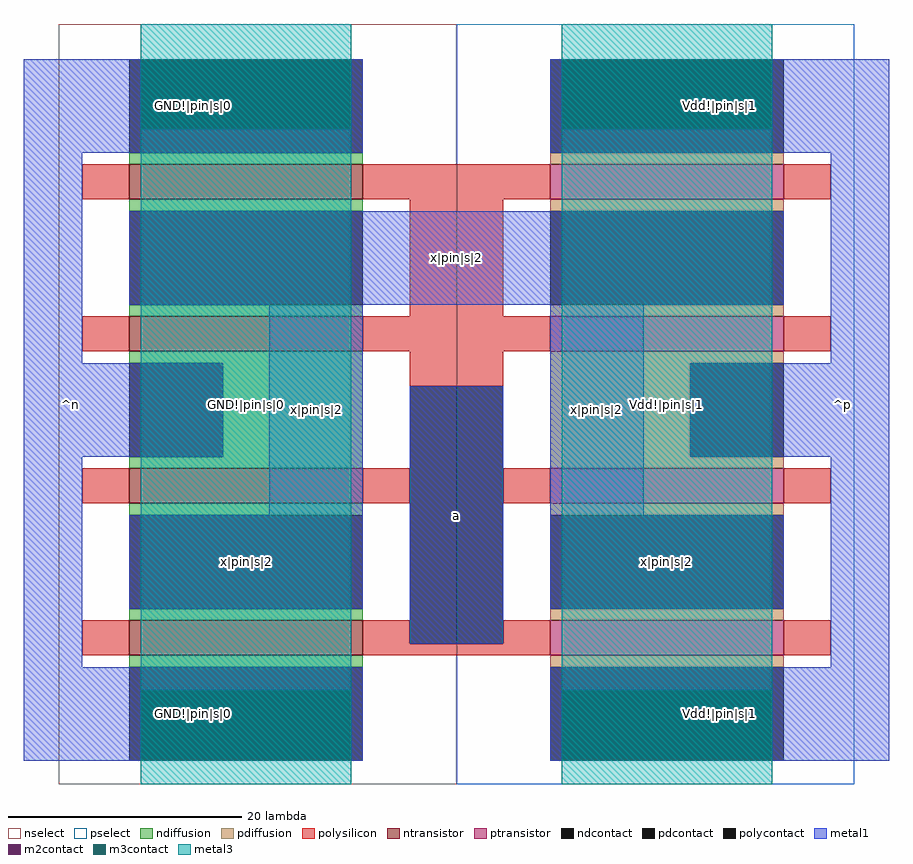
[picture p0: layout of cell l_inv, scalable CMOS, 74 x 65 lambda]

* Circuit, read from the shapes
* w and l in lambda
.subckt l_inv GND!|pin|s|0 Vdd!|pin|s|1 a x|pin|s|2
M1 x|pin|s|2 a GND!|pin|s|0 VSUBS nfet w=20 l=3 m=4
M2 x|pin|s|2 a Vdd!|pin|s|1 NWELL pfet w=20 l=3 m=4
.ends

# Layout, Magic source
magic
tech scmos
<< nselect >>
rect -34 467 0 532
<< pselect >>
rect 0 467 34 532
<< ndiffusion >>
rect -28 520 -8 521
rect -28 516 -8 517
rect -28 507 -8 508
rect -28 503 -8 504
rect -20 495 -8 503
rect -28 494 -8 495
rect -28 490 -8 491
rect -28 481 -8 482
rect -28 477 -8 478
<< pdiffusion >>
rect 8 520 28 521
rect 8 516 28 517
rect 8 507 28 508
rect 8 503 28 504
rect 8 495 20 503
rect 8 494 28 495
rect 8 490 28 491
rect 8 481 28 482
rect 8 477 28 478
<< ntransistor >>
rect -28 517 -8 520
rect -28 504 -8 507
rect -28 491 -8 494
rect -28 478 -8 481
<< ptransistor >>
rect 8 517 28 520
rect 8 504 28 507
rect 8 491 28 494
rect 8 478 28 481
<< polysilicon >>
rect -32 517 -28 520
rect -8 517 8 520
rect 28 517 32 520
rect -4 507 4 517
rect -32 504 -28 507
rect -8 504 8 507
rect 28 504 32 507
rect -4 501 4 504
rect -32 491 -28 494
rect -8 491 -4 494
rect -32 478 -28 481
rect -8 479 -4 481
rect 4 491 8 494
rect 28 491 32 494
rect 4 479 8 481
rect -8 478 8 479
rect 28 478 32 481
<< ndcontact >>
rect -28 521 -8 529
rect -28 508 -8 516
rect -28 495 -20 503
rect -28 482 -8 490
rect -28 469 -8 477
<< pdcontact >>
rect 8 521 28 529
rect 8 508 28 516
rect 20 495 28 503
rect 8 482 28 490
rect 8 469 28 477
<< polycontact >>
rect -4 479 4 501
<< metal1 >>
rect -37 523 -27 529
rect -9 523 -8 529
rect -37 521 -8 523
rect 8 523 9 529
rect 27 523 37 529
rect 8 521 37 523
rect -37 503 -32 521
rect -28 508 28 516
rect -37 495 -20 503
rect -37 477 -32 495
rect -16 490 -8 508
rect -28 482 -8 490
rect -4 479 4 501
rect 8 490 16 508
rect 32 503 37 521
rect 20 495 37 503
rect 8 482 28 490
rect 32 477 37 495
rect -37 475 -8 477
rect -37 469 -27 475
rect -9 469 -8 475
rect 8 475 37 477
rect 8 469 9 475
rect 27 469 37 475
<< m2contact >>
rect -27 523 -9 529
rect 9 523 27 529
rect -27 469 -9 475
rect 9 469 27 475
<< m3contact >>
rect -27 523 -9 529
rect 9 523 27 529
rect -27 469 -9 475
rect 9 469 27 475
<< metal3 >>
rect -27 467 -9 532
rect 9 467 27 532
<< labels >>
rlabel metal1 -4 479 4 501 1 a
rlabel space -38 467 -28 532 7 ^n
rlabel space 28 467 38 532 3 ^p
rlabel metal3 -27 467 -9 532 1 GND!|pin|s|0
rlabel metal1 -37 469 -8 477 1 GND!|pin|s|0
rlabel metal1 -37 521 -8 529 1 GND!|pin|s|0
rlabel metal1 -37 469 -32 529 3 GND!|pin|s|0
rlabel metal3 9 467 27 532 1 Vdd!|pin|s|1
rlabel metal1 8 521 37 529 1 Vdd!|pin|s|1
rlabel metal1 8 469 37 477 1 Vdd!|pin|s|1
rlabel metal1 32 469 37 529 7 Vdd!|pin|s|1
rlabel metal1 -28 508 28 516 1 x|pin|s|2
rlabel metal1 -28 482 -8 490 1 x|pin|s|2
rlabel metal1 8 482 28 490 1 x|pin|s|2
rlabel metal1 8 482 16 516 1 x|pin|s|2
rlabel metal1 -16 482 -8 516 1 x|pin|s|2
<< end >>
